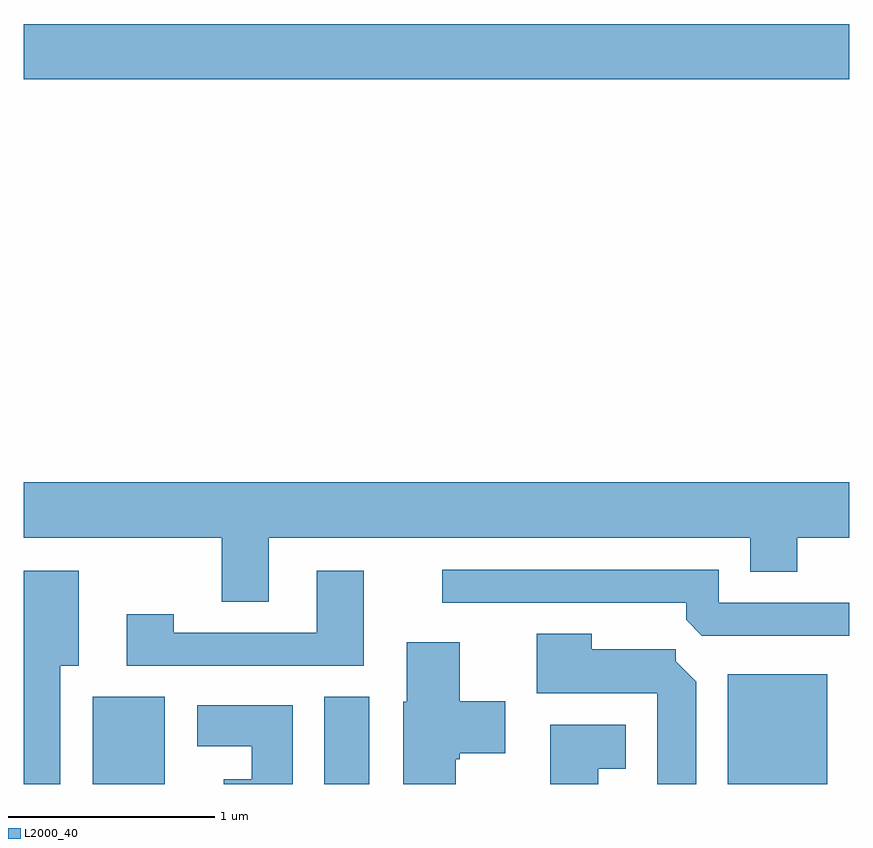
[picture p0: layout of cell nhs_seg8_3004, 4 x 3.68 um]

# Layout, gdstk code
import gdstk
lib = gdstk.Library(unit=1e-6, precision=1e-09)
def R(c, l, rs):  # rectangles x0, y0, x1, y1
    for r in rs: c.add(gdstk.rectangle(r[:2], r[2:], *l))
def P(c, l, *ps):  # polygons
    for p in ps: c.add(gdstk.Polygon(p, *l))
L2000_40 = (2000, 40)

nhs_seg8_3004 = lib.new_cell('nhs_seg8_3004')
R(nhs_seg8_3004, L2000_40, [(275.946,1826.342,276.294,1826.764), (277.066,1826.342,277.284,1826.764), (279.021,1826.342,279.504,1826.874), (275.611,1829.756,279.611,1830.024)])
P(nhs_seg8_3004, L2000_40, [(276.799,1827.536),(279.131,1827.536),(279.131,1827.371),(279.359,1827.371),(279.359,1827.536),(279.611,1827.536),(279.611,1827.804),(275.611,1827.804),(275.611,1827.536),(276.571,1827.536),(276.571,1827.226),(276.799,1827.226)],
  [(279.611,1827.219),(278.979,1827.219),(278.979,1827.379),(277.638,1827.379),(277.638,1827.221),(278.821,1827.221),(278.821,1827.137),(278.897,1827.061),(279.611,1827.061)],
  [(277.259,1827.374),(277.031,1827.374),(277.031,1827.074),(276.339,1827.074),(276.339,1827.164),(276.111,1827.164),(276.111,1826.916),(277.259,1826.916)],
  [(275.789,1826.916),(275.879,1826.916),(275.879,1827.374),(275.611,1827.374),(275.611,1826.342),(275.789,1826.342)],
  [(278.869,1826.837),(278.769,1826.937),(278.769,1826.994),(278.364,1826.994),(278.364,1827.069),(278.096,1827.069),(278.096,1826.781),(278.681,1826.781),(278.681,1826.342),(278.869,1826.342)],
  [(277.704,1826.461),(277.724,1826.461),(277.724,1826.491),(277.944,1826.491),(277.944,1826.744),(277.724,1826.744),(277.724,1827.029),(277.466,1827.029),(277.466,1826.74),(277.451,1826.74),(277.451,1826.342),(277.704,1826.342)],
  [(276.914,1826.724),(276.451,1826.724),(276.451,1826.526),(276.716,1826.526),(276.716,1826.364),(276.581,1826.364),(276.581,1826.342),(276.914,1826.342)],
  [(278.394,1826.416),(278.529,1826.416),(278.529,1826.629),(278.161,1826.629),(278.161,1826.342),(278.394,1826.342)])

lib.write_gds('nhs_seg8_3004.gds')
